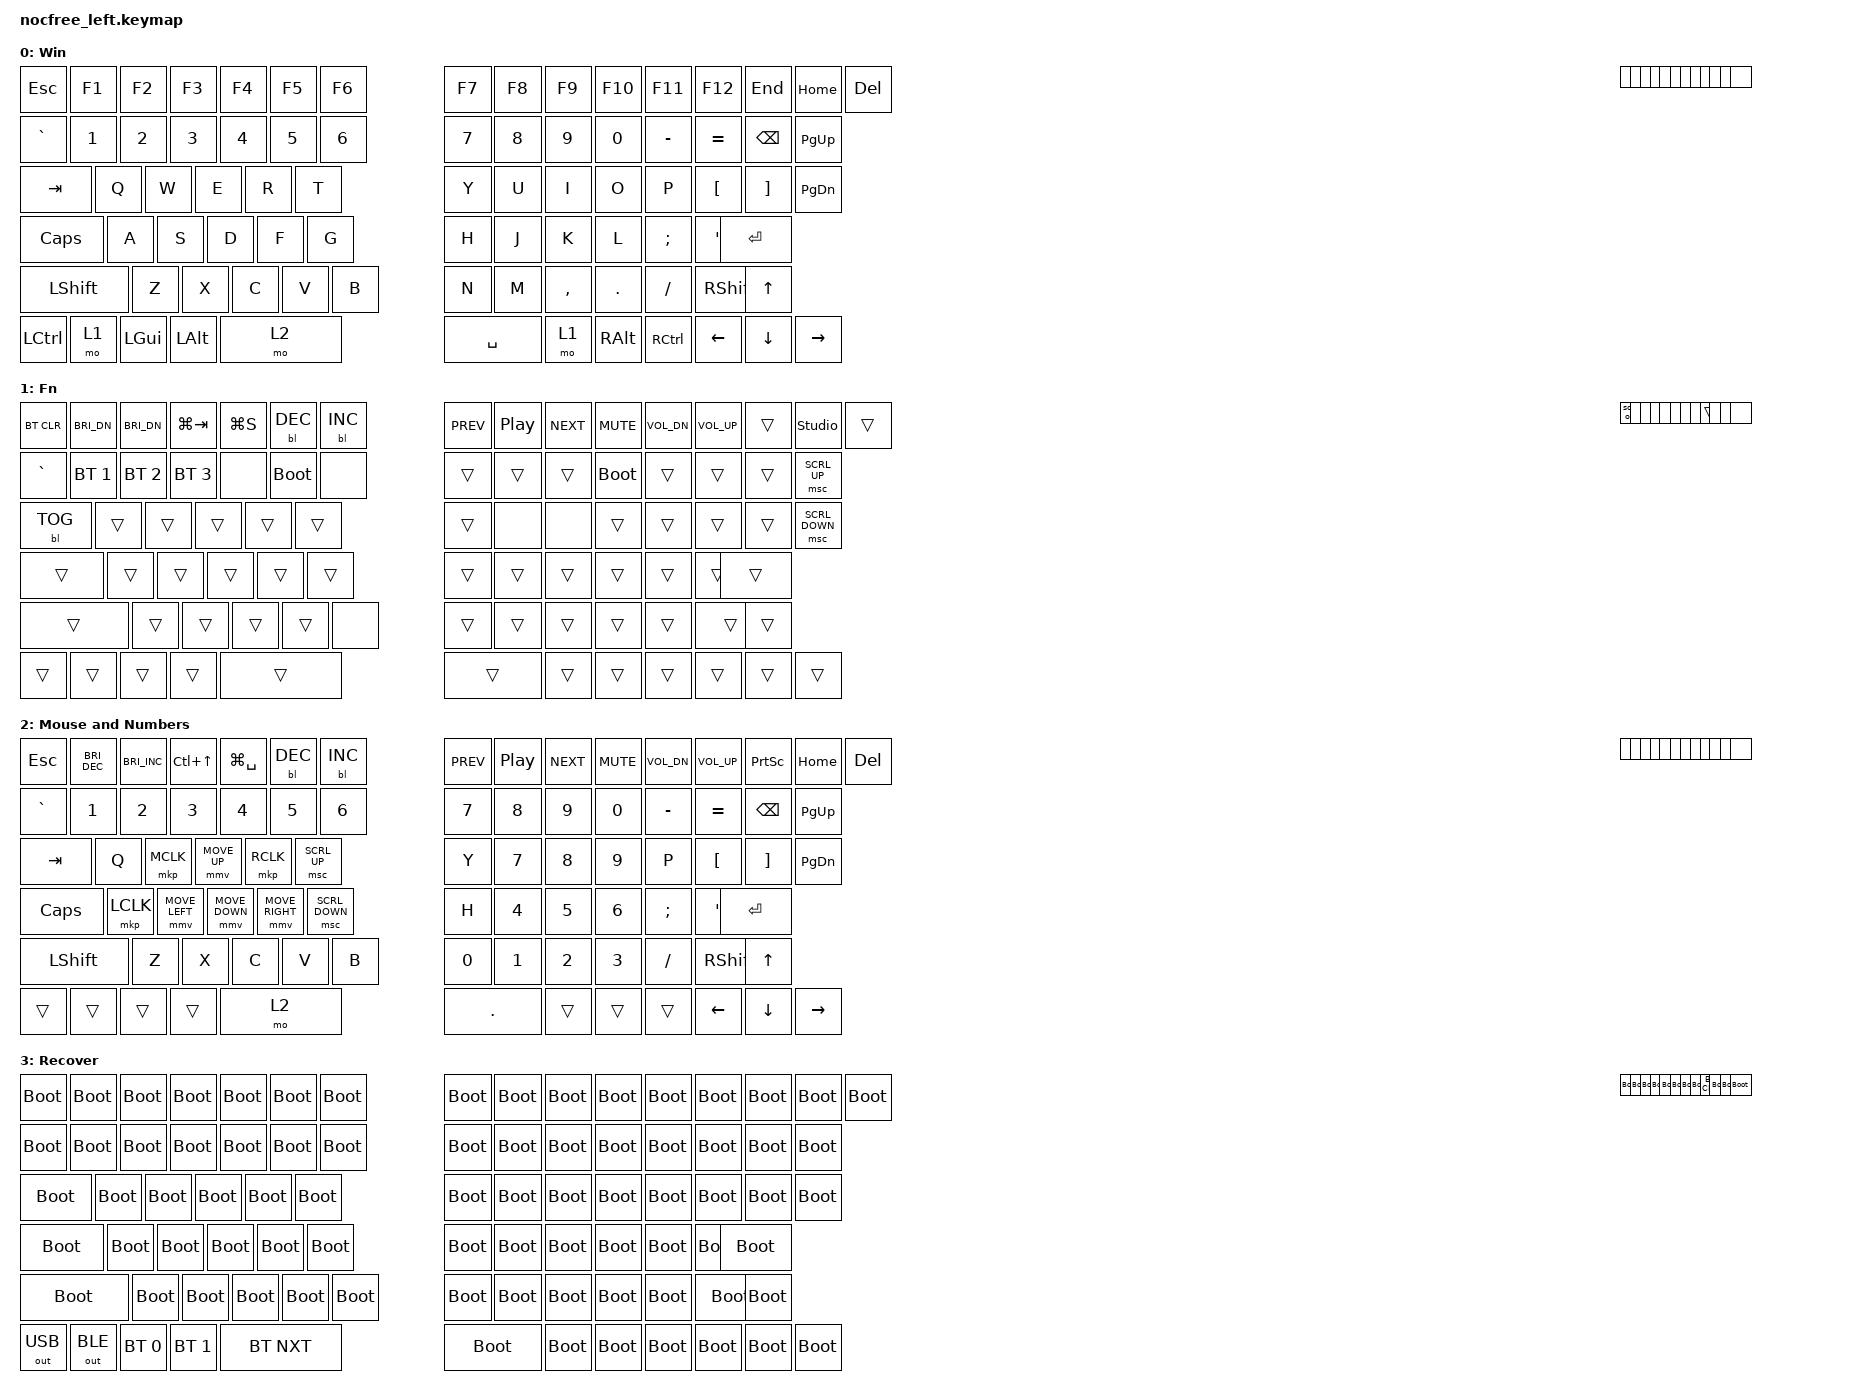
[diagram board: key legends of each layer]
/*
 * CENTRAL keymap for the NocFree "&" — standard 65% QWERTY. Edit to taste
 * (or via ZMK Studio, which is enabled on the left half).
 *
 * CENTRAL keymap, 96 positions: 0-47 = left half (kscan cols 0-47),
 * 48-95 = right half (col-offset 48). The right half's own .keymap is an
 * inert placeholder -- peripherals never evaluate bindings.
 *
 * PHYSICAL LAYOUT (vendor grid; '|' = the empirical half split):
 *   r0  ESC  F1 F2 F3 F4 F5 F6 | F7 F8 F9 F10 F11 F12 PRTSC HOME
 *   r1  GRV  1  2  3  4  5  6  | 7  8  9   0   -   =   BKSP PGUP
 *   r2  TAB  Q  W  E  R  T     | Y  U  I   O   P   [   ]    \
 *   r3  CAPS A  S  D  F  G     | H  J  K   L   ;   '   RET  DEL
 *   r4  LSFT Z  X  C  V  B     | N  M  ,   .   /   RSFT UP   PGDN
 *   r5  FN   LCT LAL LGI SPC SPC | SPC RGI FN RALT LEFT DOWN RIGHT
 * (r5 resolved 2026-08-09: 13 keys, undumped seam column at c7. The
 * top-right cluster is still DISPUTED vs the empirical map -- see the
 * LEFT_WIDTH comments in the tool; verify by keycap)
 *
 * LAYERS: 0 = Win (DEFAULT: the user's host is Windows behind a KVM; stock
 * defaults to macOS), 1 = Fn, 2 = Mac, 3 = Recover. Fn+M -> Mac, Fn+N -> Win
 * (per the manual; the stock dump puts those opcodes at the M/N positions).
 * Only the F3/F4 chords differ between OS layers, matching stock opcodes 8/9.
 *
 * Top row on the base layers is the vendor media row (manual):
 *   F1/F2 display bright -/+   F3 Task View / Mission Ctrl   F4 Search / Spotlight
 *   F5/F6 kbd backlight -/+    F7-F9 prev/play/next          F10-F12 mute/vol-/vol+
 *
 * RECOVERY: hold ESC (pos 0) + TAB (pos 16) from idle, then any key -> that
 * half resets to the bootloader (locality EVENT_SOURCE). Layer 3 row 5 keeps
 * manual transport overrides.
 */
/*
 * Studio snippet defines ZMK_BEHAVIORS_KEEP_ALL (all behaviors in firmware).
 * nRF52833 code partition is 276 KB and left is already ~88% without Studio;
 * KEEP_ALL will not fit. Undef it and keep only what Studio remaps need.
 */

#undef ZMK_BEHAVIORS_KEEP_ALL

#define ZMK_BEHAVIORS_KEEP_BL
#define ZMK_BEHAVIORS_KEEP_KP
#define ZMK_BEHAVIORS_KEEP_BT
#define ZMK_BEHAVIORS_KEEP_OUT
#define ZMK_BEHAVIORS_KEEP_MO
#define ZMK_BEHAVIORS_KEEP_TO
#define ZMK_BEHAVIORS_KEEP_TOG
#define ZMK_BEHAVIORS_KEEP_MT
#define ZMK_BEHAVIORS_KEEP_LT
#define ZMK_BEHAVIORS_KEEP_SK
#define ZMK_BEHAVIORS_KEEP_STICKY_LAYER
#define ZMK_BEHAVIORS_KEEP_SOFT_OFF
#define ZMK_BEHAVIORS_KEEP_NONE
#define ZMK_BEHAVIORS_KEEP_TRANS
#define ZMK_BEHAVIORS_KEEP_CAPS_WORD
#define ZMK_BEHAVIORS_KEEP_KEY_REPEAT
#define ZMK_BEHAVIORS_KEEP_KT

#include <behaviors.dtsi>
#include <dt-bindings/zmk/backlight.h>
#include <dt-bindings/zmk/bt.h>
#include <dt-bindings/zmk/keys.h>
#include <dt-bindings/zmk/outputs.h>
#include <dt-bindings/zmk/pointing.h>

/* Soft-off: hold 2s (tap is ignored). From behaviors/soft_off.dtsi as &soft_off. */

&soft_off {
    hold-time-ms = <2000>;
    split-peripheral-off-on-press;
};

/ {
    keymap {
        compatible = "zmk,keymap";

        win_layer: layer_0 {
            display-name = "Win";
            bindings = <
&kp ESC  &kp F1  &kp F2  &kp F3  &kp F4  &kp F5  &kp F6  &none  &kp GRAVE  &kp N1  &kp N2  &kp N3  &kp N4  &kp N5  &kp N6  &none  &kp TAB  &kp Q  &kp W  &kp E  &kp R  &kp T  &none  &none  &kp CAPS  &kp A  &kp S  &kp D  &kp F  &kp G  &none  &none  &kp LSHIFT  &kp Z  &kp X  &kp C  &kp V  &kp B  &none  &none  &kp LEFT_CONTROL  &mo 1  &kp LEFT_GUI  &kp LEFT_ALT  &mo 2  &none  &none  &none  &kp F7  &kp F8  &kp F9  &kp F10  &kp F11  &kp F12  &kp END  &kp HOME  &kp N7  &kp N8  &kp N9  &kp N0  &kp MINUS  &kp EQUAL  &kp BACKSPACE  &kp PAGE_UP  &kp Y  &kp U  &kp I  &kp O  &kp P  &kp LBKT  &kp RBKT  &kp BSLH  &kp H  &kp J  &kp K  &kp L  &kp SEMI  &kp SQT  &kp RET  &kp DEL  &kp N  &kp M  &kp COMMA  &kp DOT  &kp FSLH  &kp RSHIFT  &kp UP_ARROW  &kp PAGE_DOWN  &kp SPACE  &mo 1  &kp RIGHT_ALT  &kp RIGHT_CONTROL  &kp LEFT_ARROW  &kp DOWN_ARROW  &kp RIGHT_ARROW  &none
            >;
        };

        fn_layer: layer_1 {
            display-name = "Fn";
            bindings = <
&bt BT_CLR  &kp C_BRI_DN  &kp C_BRI_DN  &kp LG(TAB)  &kp LG(S)  &bl BL_DEC  &bl BL_INC  &soft_off  &kp GRAVE  &bt BT_SEL 1  &bt BT_SEL 2  &bt BT_SEL 3  &none  &bootloader  &none  &none  &bl BL_TOG  &trans  &trans  &trans  &trans  &trans  &none  &none  &trans  &trans  &trans  &trans  &trans  &trans  &none  &none  &trans  &trans  &trans  &trans  &trans  &none  &none  &none  &trans  &trans  &trans  &trans  &trans  &trans  &none  &none  &kp C_PREV  &kp C_PP  &kp C_NEXT  &kp C_MUTE  &kp C_VOL_DN  &kp C_VOL_UP  &trans  &studio_unlock  &trans  &trans  &trans  &bootloader  &trans  &trans  &trans  &msc SCRL_UP  &trans  &none  &none  &trans  &trans  &trans  &trans  &trans  &trans  &trans  &trans  &trans  &trans  &trans  &trans  &trans  &trans  &trans  &trans  &trans  &trans  &trans  &trans  &msc SCRL_DOWN  &trans  &trans  &trans  &trans  &trans  &trans  &trans  &none
            >;
        };

        mac_layer: layer_2 {
            display-name = "Mouse and Numbers";
            bindings = <
&kp ESC  &kp C_BRI_DEC  &kp C_BRI_INC  &kp LC(UP_ARROW)  &kp LG(SPACE)  &bl BL_DEC  &bl BL_INC  &none  &kp GRAVE  &kp N1  &kp N2  &kp N3  &kp N4  &kp N5  &kp N6  &none  &kp TAB  &kp Q  &mkp MCLK  &mmv MOVE_UP  &mkp RCLK  &msc SCRL_UP  &none  &none  &kp CAPS  &mkp LCLK  &mmv MOVE_LEFT  &mmv MOVE_DOWN  &mmv MOVE_RIGHT  &msc SCRL_DOWN  &none  &none  &kp LSHIFT  &kp Z  &kp X  &kp C  &kp V  &kp B  &none  &none  &trans  &trans  &trans  &trans  &mo 2  &none  &none  &none  &kp C_PREV  &kp C_PP  &kp C_NEXT  &kp C_MUTE  &kp C_VOL_DN  &kp C_VOL_UP  &kp PRINTSCREEN  &kp HOME  &kp N7  &kp N8  &kp N9  &kp N0  &kp MINUS  &kp EQUAL  &kp BACKSPACE  &kp PAGE_UP  &kp Y  &kp N7  &kp N8  &kp N9  &kp P  &kp LBKT  &kp RBKT  &kp BSLH  &kp H  &kp N4  &kp N5  &kp N6  &kp SEMI  &kp SQT  &kp RET  &kp DEL  &kp N0  &kp N1  &kp N2  &kp N3  &kp FSLH  &kp RSHIFT  &kp UP_ARROW  &kp PAGE_DOWN  &kp DOT  &trans  &trans  &trans  &kp LEFT_ARROW  &kp DOWN_ARROW  &kp RIGHT_ARROW  &none
            >;
        };

        recovery_layer: layer_3 {
            display-name = "Recover";
            bindings = <
&bootloader  &bootloader  &bootloader  &bootloader  &bootloader  &bootloader  &bootloader  &bootloader  &bootloader  &bootloader  &bootloader  &bootloader  &bootloader  &bootloader  &bootloader  &bootloader  &bootloader  &bootloader  &bootloader  &bootloader  &bootloader  &bootloader  &bootloader  &bootloader  &bootloader  &bootloader  &bootloader  &bootloader  &bootloader  &bootloader  &bootloader  &bootloader  &bootloader  &bootloader  &bootloader  &bootloader  &bootloader  &bootloader  &bootloader  &bootloader  &out OUT_USB  &out OUT_BLE  &bt BT_SEL 0  &bt BT_SEL 1  &bt BT_NXT  &bt BT_CLR  &bootloader  &bootloader  &bootloader  &bootloader  &bootloader  &bootloader  &bootloader  &bootloader  &bootloader  &bootloader  &bootloader  &bootloader  &bootloader  &bootloader  &bootloader  &bootloader  &bootloader  &bootloader  &bootloader  &bootloader  &bootloader  &bootloader  &bootloader  &bootloader  &bootloader  &bootloader  &bootloader  &bootloader  &bootloader  &bootloader  &bootloader  &bootloader  &bootloader  &bootloader  &bootloader  &bootloader  &bootloader  &bootloader  &bootloader  &bootloader  &bootloader  &bootloader  &bootloader  &bootloader  &bootloader  &bootloader  &bootloader  &bootloader  &bootloader  &bootloader
            >;
        };

        /* Empty slots Studio can enable without reflashing. */

        studio_extra_0: layer_4 {
            display-name = "Extra1";
            status = "reserved";
        };

        studio_extra_1: layer_5 {
            display-name = "Extra2";
            status = "reserved";
        };
    };

    combos {
        compatible = "zmk,combos";

        /* ESC (pos 0) + TAB (pos 16): both on the left half, and both
		 * UNAMBIGUOUS under every position-map theory (the bottom-row Fn
		 * position is disputed, so Fn is not used here). require-prior-idle
		 * keeps it from firing mid-typing. */

        recovery_combo {
            bindings = <&mo 3>;
            key-positions = <0 16>;
            timeout-ms = <50>;
            require-prior-idle-ms = <500>;
        };
    };
};
